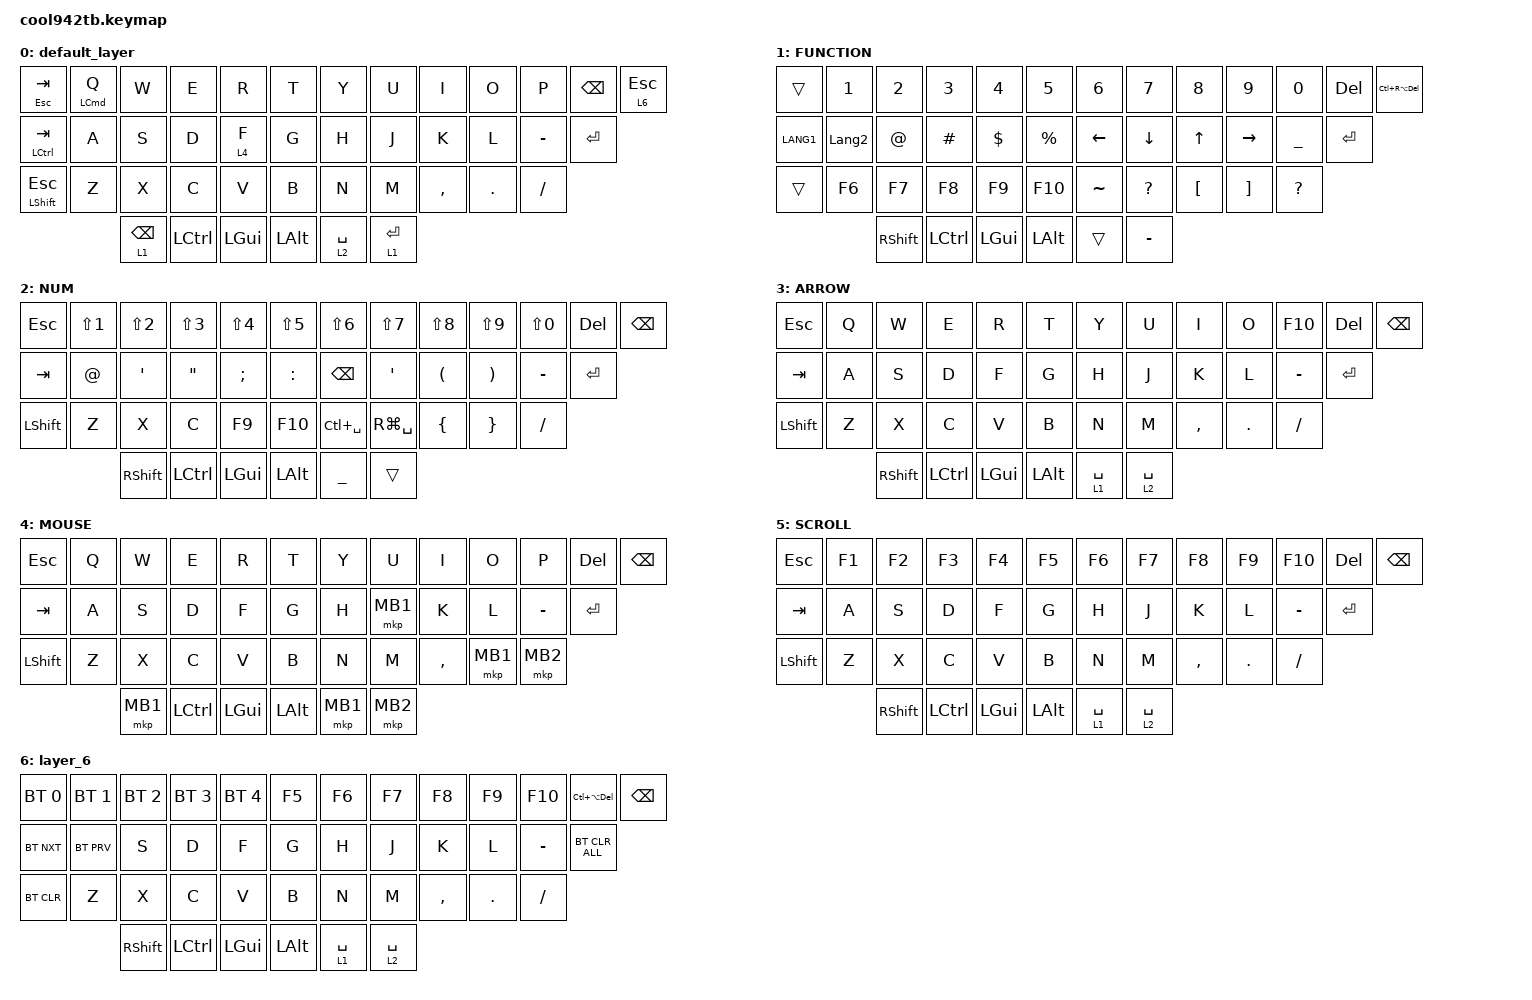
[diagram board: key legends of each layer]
#include <behaviors.dtsi>
#include <dt-bindings/zmk/bt.h>
#include <dt-bindings/zmk/keys.h>
#include <dt-bindings/zmk/pointing.h>

#define MOUSE 4
#define SCROLL 5
#define NUM 6

&mt {
    flavor = "balanced";
    quick-tap-ms = <0>;
};

/ {
    combos {
        compatible = "zmk,combos";

        clear_ble_setting {
            bindings = <&bt BT_CLR_ALL>;
            key-positions = <11 12>;
            layers = <1>;
        };

        shift_tab {
            bindings = <&mo 1>;
            key-positions = <34 33>;
            layers = <0>;
        };

        muhennkann {
            bindings = <&to_layer_0 INT_MUHENKAN>;
            key-positions = <11 10>;
        };

        double_quotation {
            bindings = <&kp DOUBLE_QUOTES>;
            key-positions = <20 21>;
        };

        eq {
            bindings = <&kp EQUAL>;
            key-positions = <24 25>;
        };
    };

    macros {
        to_layer_0: to_layer_0 {
            compatible = "zmk,behavior-macro-one-param";
            #binding-cells = <1>;
            bindings = <&to 0 &macro_param_1to1 &kp MACRO_PLACEHOLDER>;
            label = "TO_LAYER_0";
        };
    };

    behaviors {
        lt_to_layer_0: lt_to_layer_0 {
            compatible = "zmk,behavior-hold-tap";
            label = "LAYER_TAP_TO_0";
            bindings = <&mo>, <&to_layer_0>;

            #binding-cells = <2>;
            tapping-term-ms = <200>;
        };

        hm_ctrl_backspace: hm_ctrl_backspace {
            compatible = "zmk,behavior-mod-morph";
            label = "HM_CTRL_BSPC";
            #binding-cells = <0>;
            mods = <(MOD_LCTL | MOD_RCTL)>;
            bindings = <&kp H>, <&kp BSPC>;
        };
    };

    keymap {
        compatible = "zmk,keymap";

        default_layer {
            bindings = <
&mt ESCAPE TAB        &mt LCMD Q  &kp W            &kp E      &kp R     &kp T     &kp Y        &kp U        &kp I      &kp O       &kp P      &kp BACKSPACE  &lt 6 ESCAPE
&mt LEFT_CONTROL TAB  &kp A       &kp S            &kp D      &lt 4 F   &kp G     &kp H        &kp J        &kp K      &kp L       &kp MINUS  &kp ENTER
&mt LSHIFT ESCAPE     &kp Z       &kp X            &kp C      &kp V     &kp B     &kp N        &kp M        &kp COMMA  &kp PERIOD  &kp SLASH
                                  &lt 1 BACKSPACE  &kp LCTRL  &kp LGUI  &kp LALT  &lt 2 SPACE  &lt 1 ENTER
            >;
        };

        FUNCTION {
            bindings = <
&trans     &kp N1          &kp N2       &kp N3     &kp N4        &kp N5       &kp N6     &kp N7          &kp N8            &kp N9             &kp N0          &kp DELETE  &kp LC(RA(DELETE))
&kp LANG1  &kp LANGUAGE_2  &kp AT_SIGN  &kp HASH   &kp DOLLAR    &kp PERCENT  &kp LEFT   &kp DOWN_ARROW  &kp UP_ARROW      &kp RIGHT          &kp UNDERSCORE  &kp ENTER
&trans     &kp F6          &kp F7       &kp F8     &kp F9        &kp F10      &kp TILDE  &kp QUESTION    &kp LEFT_BRACKET  &kp RIGHT_BRACKET  &kp QUESTION
                           &kp RSHIFT   &kp LCTRL  &kp LEFT_GUI  &kp LALT     &trans     &kp MINUS
            >;
        };

        NUM {
            bindings = <
&kp ESC     &kp LS(NUMBER_1)  &kp LS(NUMBER_2)  &kp LS(NUMBER_3)   &kp LS(NUMBER_4)  &kp LS(N5)  &kp LS(NUMBER_6)  &kp LS(N7)     &kp LS(N8)            &kp LS(N9)             &kp LS(N0)  &kp DEL    &kp BSPC
&kp TAB     &kp AT_SIGN       &kp SQT           &kp DOUBLE_QUOTES  &kp SEMICOLON     &kp COLON   &kp BACKSPACE     &kp SQT        &kp LEFT_PARENTHESIS  &kp RIGHT_PARENTHESIS  &kp MINUS   &kp ENTER
&kp LSHIFT  &kp Z             &kp X             &kp C              &kp F9            &kp F10     &kp LC(SPACE)     &kp RG(SPACE)  &kp LEFT_BRACE        &kp RIGHT_BRACE        &kp SLASH
                              &kp RSHIFT        &kp LCTRL          &kp LGUI          &kp LALT    &kp UNDERSCORE    &trans
            >;
        };

        ARROW {
            bindings = <
&kp ESC     &kp Q  &kp W       &kp E      &kp R     &kp T     &kp Y        &kp U        &kp I      &kp O       &kp F10    &kp DEL    &kp BSPC
&kp TAB     &kp A  &kp S       &kp D      &kp F     &kp G     &kp H        &kp J        &kp K      &kp L       &kp MINUS  &kp ENTER
&kp LSHIFT  &kp Z  &kp X       &kp C      &kp V     &kp B     &kp N        &kp M        &kp COMMA  &kp PERIOD  &kp SLASH
                   &kp RSHIFT  &kp LCTRL  &kp LGUI  &kp LALT  &lt 1 SPACE  &lt 2 SPACE
            >;
        };

        MOUSE {
            bindings = <
&kp ESC     &kp Q  &kp W     &kp E      &kp R     &kp T     &kp Y     &kp U     &kp I      &kp O     &kp P      &kp DEL    &kp BSPC
&kp TAB     &kp A  &kp S     &kp D      &kp F     &kp G     &kp H     &mkp MB1  &kp K      &kp L     &kp MINUS  &kp ENTER
&kp LSHIFT  &kp Z  &kp X     &kp C      &kp V     &kp B     &kp N     &kp M     &kp COMMA  &mkp MB1  &mkp MB2
                   &mkp MB1  &kp LCTRL  &kp LGUI  &kp LALT  &mkp MB1  &mkp MB2
            >;
        };

        SCROLL {
            bindings = <
&kp ESC     &kp F1  &kp F2      &kp F3     &kp F4    &kp F5    &kp F6       &kp F7       &kp F8     &kp F9      &kp F10    &kp DEL    &kp BSPC
&kp TAB     &kp A   &kp S       &kp D      &kp F     &kp G     &kp H        &kp J        &kp K      &kp L       &kp MINUS  &kp ENTER
&kp LSHIFT  &kp Z   &kp X       &kp C      &kp V     &kp B     &kp N        &kp M        &kp COMMA  &kp PERIOD  &kp SLASH
                    &kp RSHIFT  &kp LCTRL  &kp LGUI  &kp LALT  &lt 1 SPACE  &lt 2 SPACE
            >;
        };

        layer_6 {
            bindings = <
&bt BT_SEL 0  &bt BT_SEL 1  &bt BT_SEL 2  &bt BT_SEL 3  &bt BT_SEL 4  &kp F5    &kp F6       &kp F7       &kp F8     &kp F9      &kp F10    &kp LC(LA(DEL))  &kp BSPC
&bt BT_NXT    &bt BT_PRV    &kp S         &kp D         &kp F         &kp G     &kp H        &kp J        &kp K      &kp L       &kp MINUS  &bt BT_CLR_ALL
&bt BT_CLR    &kp Z         &kp X         &kp C         &kp V         &kp B     &kp N        &kp M        &kp COMMA  &kp PERIOD  &kp SLASH
                            &kp RSHIFT    &kp LCTRL     &kp LGUI      &kp LALT  &lt 1 SPACE  &lt 2 SPACE
            >;
        };
    };
};
